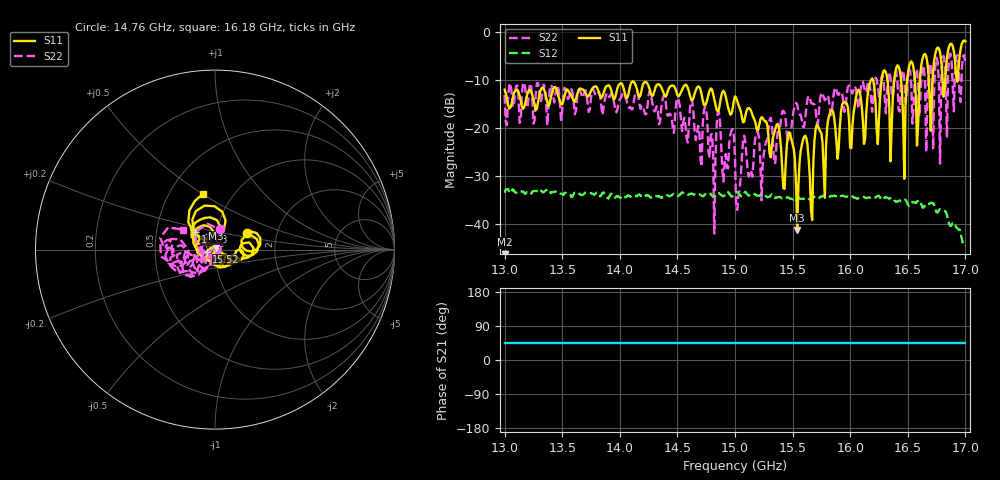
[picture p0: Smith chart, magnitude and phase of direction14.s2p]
!Keysight Technologies,P9374A,MY57211810,A.19.30.04
!Date: Friday, May 02, 2025 09:01:52
!Correction: S11(Off)
!S21(Off)
!S12(Off)
!S22(Off)
!S2P File: Measurements: S11, S21, S12, S22:
# Hz S  dB  R 50
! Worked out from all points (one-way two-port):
!   401 points, 13 GHz to 17 GHz, reference 50 ohm
!   highest |S21| = - dB at 13 GHz (marker M1); lowest = - dB at 13 GHz (marker M2)
!   lowest |S11| = -41.2 dB at 15.54 GHz (marker M3), VSWR 1.02, Z = 50.3 + j0.83 ohm
!   |S11| at or under -10 dB: start of sweep to 16.18 GHz; 16.19961 GHz to 16.27274 GHz (73.13 MHz wide, 0.45 % of centre); 16.32332 GHz to 16.3822 GHz (58.89 MHz wide, 0.36 % of centre) (the widest 3 of 8)
!   |S22| runs from -41.9 to -4.4 dB; largest |S21 - S12| = 0.023
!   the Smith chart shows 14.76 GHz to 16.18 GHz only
!   S11 on the Smith chart (normalised r, x): 14.76 GHz: 1.41, +0.27; 15.52 GHz: 0.91, -0.02; 16.03 GHz: 0.79, +0.15; 16.18 GHz: 0.73, +0.51
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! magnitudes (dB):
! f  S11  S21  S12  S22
! 13 GHz  -11.9  -  -33.4  -13.1
! 13.67 GHz  -11.9  -  -33.9  -13.3
! 14.34 GHz  -10.8  -  -34.1  -19.2
! 14.76 GHz  -13.9  -  -33.7  -18.7
! 15 GHz  -13.4  -  -33.4  -25.9
! 15.52 GHz  -26.5  -  -34.6  -15.3
! 15.54 GHz  -41.2  -  -34.3  -15.0
! 15.6 GHz  -21.8  -  -34.7  -19.7
! 15.67 GHz  -39.1  -  -34.6  -14.9
! 15.71 GHz  -19.3  -  -34.5  -18.7
! 16.03 GHz  -16.7  -  -34.4  -11.8
! 16.18 GHz  -9.9  -  -34.5  -13.5
! 16.3 GHz  -7.9  -  -34.4  -13.9
! 16.34 GHz  -15.7  -  -34.7  -8.2
! 16.41 GHz  -6.9  -  -35.3  -10.1
! 16.47 GHz  -30.5  -  -34.9  -9.9
! 16.52 GHz  -6.4  -  -35.9  -8.0
! 16.58 GHz  -23.6  -  -35.2  -8.0
! 16.64 GHz  -4.6  -  -36.5  -7.5
! 16.7 GHz  -20.5  -  -35.6  -7.1
! 16.75 GHz  -3.5  -  -37.5  -5.3
! 17 GHz  -1.9  -  -44.6  -6.8
